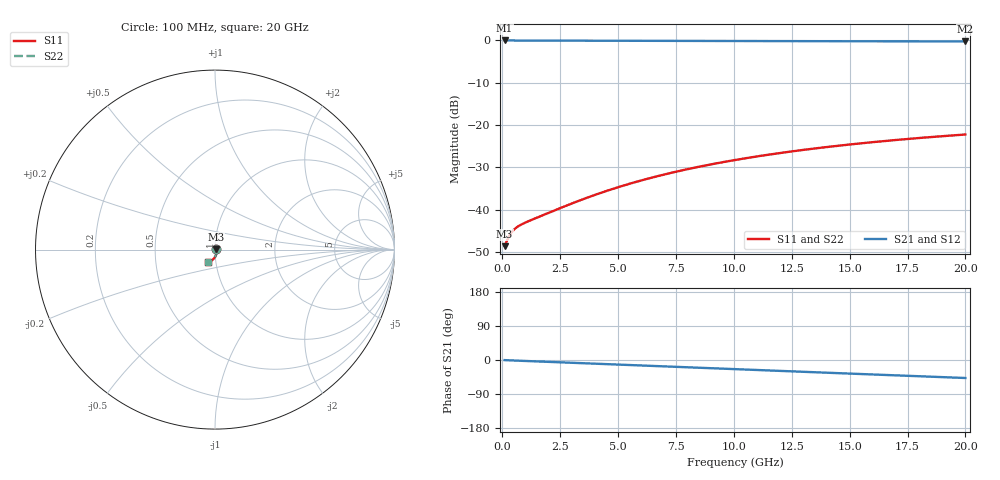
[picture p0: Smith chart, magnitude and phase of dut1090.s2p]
! Touchstone file exported from HFSS 2026.1.0
!  File:  C:/ffzhzh/LocalFiles/Ansys_Project_Files/temp_train_BSMRDL_1090_1783174604_43440.aedt
!  Generated:  10:18:01 PM Jul  4, 2026
!  Design:  BSMRDL
!  Project:  temp_train_BSMRDL_1090_1783174604_43440
! Variables:
!  h_bsmrdl = 3.43um
!  h_ox = 20um
!  h_rdl = 5um
!  h_sub = 80um
!  h_tmrdl = 5um
!  h_tsv = 80um
!  h_via = 3um
!  l_bsmrdl = 843.88um
!  l_sub = 1243.88um
!  l_tmrdl = 200um
!  m_sub = 200um
!  pitch = 29.67um
!  r_tsv = 6um
!  s_tmrdl = 10um
!  w_bsmrdl = 26.41um
!  w_sub = 500um
!  w_tmrdl = 12um
!  x_tsv_center1 = 206um
!  x_tsv_center2 = 1076.29um
!  x_tsv_center3 = 1288.29um
!  x_tsv_center4 = 2158.58um
!  x_tsv_center5 = 2370.58um
!  x_tsv_center6 = 3240.87um
# GHz S MA R 50.000000
! Terminal data exported
! Port[1] = BSM_RDL1_1_T1
! Port[2] = BSM_RDL1_1_T2
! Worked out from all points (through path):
!   200 points, 100 MHz to 20 GHz, reference 50 ohm
!   highest |S21| = -0.03 dB at 100 MHz (marker M1); lowest = -0.3 dB at 20 GHz (marker M2)
!   group delay of S21, straight-line fit = 6.57 ps
!   lowest |S11| = -48.6 dB at 100 MHz (marker M3), VSWR 1.01, Z = 50.4 + j0.0604 ohm
!   |S11| at or under -10 dB: start of sweep to end of sweep
!   |S22| runs from -48.6 to -22.3 dB; largest |S21 - S12| = 2.6e-15
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0.1  0.003728 9.2  0.9963 -0.3  0.9963 -0.3  0.003728 9.3
! Gamma 0 0 0 0
! Port Impedance 50 0 50 0
0.2  0.00431 12.7  0.9958 -0.6  0.9958 -0.6  0.00431 12.7
0.3  0.004917 11.6  0.9952 -0.8  0.9952 -0.8  0.004917 11.6
0.4  0.005427 8.4  0.9946 -1.1  0.9946 -1.1  0.005427 8.4
0.5  0.005833 4.5  0.9942 -1.3  0.9942 -1.3  0.005832 4.5
0.7  0.006431 -3.1  0.9936 -1.8  0.9936 -1.8  0.006429 -3.0
0.9  0.006885 -9.8  0.9932 -2.3  0.9932 -2.3  0.006882 -9.8
1.3  0.007688 -21.0  0.9927 -3.3  0.9927 -3.3  0.007684 -21.0
2.6  0.01075 -44.1  0.9914 -6.4  0.9914 -6.4  0.01074 -44.1
3.5  0.01339 -53.7  0.9905 -8.6  0.9905 -8.6  0.01337 -53.8
4.3  0.01602 -60.1  0.9895 -10.6  0.9895 -10.6  0.01599 -60.2
5.1  0.01885 -65.2  0.9884 -12.5  0.9884 -12.5  0.01881 -65.4
5.9  0.02184 -69.7  0.9873 -14.4  0.9873 -14.4  0.0218 -69.8
6.8  0.02536 -74.1  0.986 -16.6  0.986 -16.6  0.0253 -74.3
8.4  0.03186 -81.0  0.9837 -20.4  0.9837 -20.4  0.03177 -81.2
10.1  0.03893 -87.6  0.9813 -24.4  0.9813 -24.4  0.03883 -87.9
11.7  0.04561 -93.3  0.9792 -28.1  0.9792 -28.1  0.04548 -93.6
13.4  0.0526 -99.0  0.977 -32.1  0.977 -32.1  0.05245 -99.3
15  0.05901 -104.1  0.975 -35.9  0.975 -35.9  0.05884 -104.5
16.7  0.06558 -109.2  0.9729 -39.8  0.9729 -39.8  0.06538 -109.7
18.3  0.07148 -113.9  0.971 -43.6  0.971 -43.6  0.07127 -114.4
20  0.07741 -118.8  0.9691 -47.5  0.9691 -47.5  0.07718 -119.3
